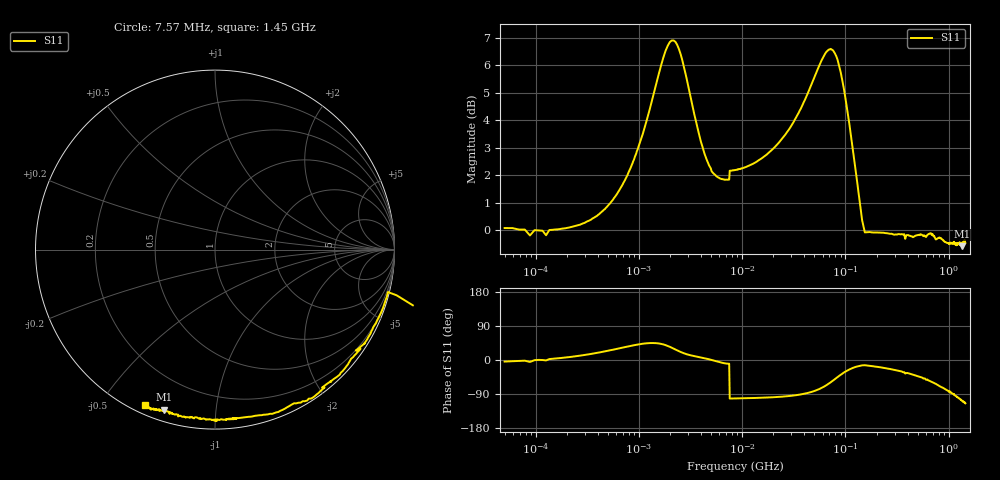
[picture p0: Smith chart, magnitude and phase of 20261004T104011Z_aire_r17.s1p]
! piloto_corto / aire / r17
# HZ S RI R 50
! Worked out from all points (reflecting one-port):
!   501 points, 50 kHz to 1.45 GHz, reference 50 ohm
!   lowest |S11| = -0.6 dB at 1.347 GHz (marker M1), VSWR 30.33, Z = 2.53 - j36.5 ohm
!   phase of S11 starts at -4 deg and turns -110 deg over the sweep
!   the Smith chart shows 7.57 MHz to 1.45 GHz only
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50000  1.007 -0.0721
183000  1.003 0.1013
658000  1.017 0.6174
1180000  1.133 1.096
1630000  1.461 1.345
1990000  1.804 1.254
2440000  1.961 0.8387
3430000  1.601 0.2892
4870000  1.303 0.0302
7300000  1.218 -0.2108
7750000  -0.259 -1.257
8560000  -0.2556 -1.261
1.81e7  -0.213 -1.367
3.16e7  -0.0999 -1.572
4.87e7  0.234 -1.858
6.67e7  0.8963 -1.918
7.57e7  1.237 -1.724
8.83e7  1.494 -1.277
9.82e7  1.505 -0.9373
1e8  1.494 -0.8822
1.18e8  1.309 -0.4981
1.36e8  1.102 -0.3103
1.63e8  0.9605 -0.2495
4.06e8  0.8041 -0.5609
7.12e8  0.4886 -0.8445
1.063e9  0.0468 -0.948
1.3465e9  -0.2846 -0.8918
1.45e9  -0.3901 -0.8653
